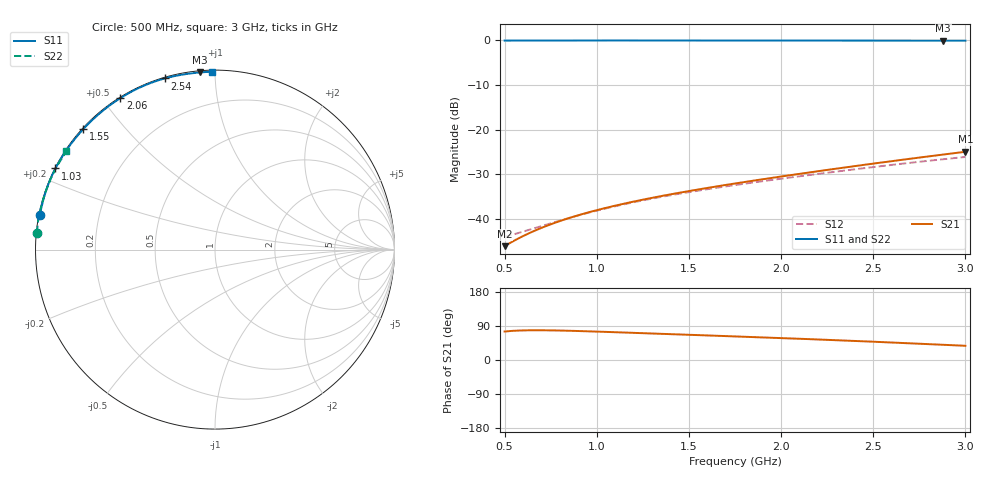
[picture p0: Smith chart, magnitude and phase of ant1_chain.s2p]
! rfsim (KiCad + openEMS)
! Created with skrf 2.1.0 (http://scikit-rf.org).
# Hz S RI R 50.0
!freq ReS11 ImS11 ReS21 ImS21 ReS12 ImS12 ReS22 ImS22
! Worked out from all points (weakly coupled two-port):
!   251 points, 500 MHz to 3 GHz, reference 50 ohm
!   highest |S21| = -24.96 dB at 3 GHz (marker M1); lowest = -46.1 dB at 500 MHz (marker M2)
!   lowest |S11| = -0.1 dB at 2.88 GHz (marker M3), VSWR 208.31, Z = 0.442 + j45.9 ohm
!   |S11| at or under -10 dB: nowhere
!   |S22| runs from -0.1 to 0.0 dB; largest |S21 - S12| = 0.012
!   S11 on the Smith chart (normalised r, x): 500 MHz: 0.00, +0.10; 1.03 GHz: 0.00, +0.24; 1.55 GHz: 0.00, +0.39; 2.06 GHz: 0.00, +0.55; 2.54 GHz: 0.00, +0.75; 3 GHz: 0.01, +0.99
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5e8  -0.975 0.1937  0.00126 0.00478  0.00138 0.00613  -0.9916 0.0935
5.4e8  -0.9713 0.2133  0.00126 0.00538  0.00155 0.00644  -0.9912 0.1005
5.9e8  -0.9662 0.2381  0.00131 0.00613  0.00174 0.00688  -0.9907 0.1094
6.4e8  -0.9603 0.2631  0.00141 0.00688  0.00192 0.00737  -0.9901 0.1184
6.9e8  -0.9537 0.288  0.00155 0.00762  0.00212 0.00791  -0.9893 0.1277
7.4e8  -0.9464 0.3129  0.00173 0.00836  0.00233 0.00848  -0.9884 0.137
8e8  -0.9365 0.3425  0.002 0.00924  0.00263 0.0092  -0.9872 0.1484
9.2e8  -0.9135 0.4006  0.00269 0.011  0.00337 0.0107  -0.9838 0.1713
1.03e9  -0.8889 0.4521  0.00347 0.0125  0.00424 0.0121  -0.98 0.1922
1.18e9  -0.8503 0.5195  0.00473 0.0146  0.0057 0.0139  -0.9736 0.2205
1.34e9  -0.8036 0.5873  0.00632 0.0167  0.00756 0.0158  -0.9658 0.2502
1.55e9  -0.7345 0.6704  0.00879 0.0195  0.0104 0.0179  -0.9543 0.2888
1.75e9  -0.6602 0.7435  0.0116 0.0221  0.0135 0.0198  -0.9421 0.3252
1.91e9  -0.5945 0.7975  0.0142 0.0241  0.0162 0.0211  -0.9314 0.3543
2.06e9  -0.5275 0.8438  0.017 0.026  0.0191 0.0222  -0.9204 0.3818
2.17e9  -0.475 0.8747  0.0194 0.0274  0.0214 0.0229  -0.9117 0.4019
2.36e9  -0.3779 0.9206  0.0239 0.0296  0.0258 0.0238  -0.8951 0.4365
2.54e9  -0.2793 0.9537  0.0289 0.0314  0.0304 0.0243  -0.8776 0.4688
2.59e9  -0.2512 0.9609  0.0304 0.0319  0.0318 0.0243  -0.8724 0.4776
2.73e9  -0.1712 0.9766  0.0349 0.033  0.0358 0.0241  -0.8575 0.5018
2.88e9  -0.0846 0.9868  0.0402 0.0339  0.0403 0.0235  -0.8412 0.5269
3e9  -0.0143 0.9915  0.0448 0.0344  0.0439 0.0227  -0.8285 0.5469
